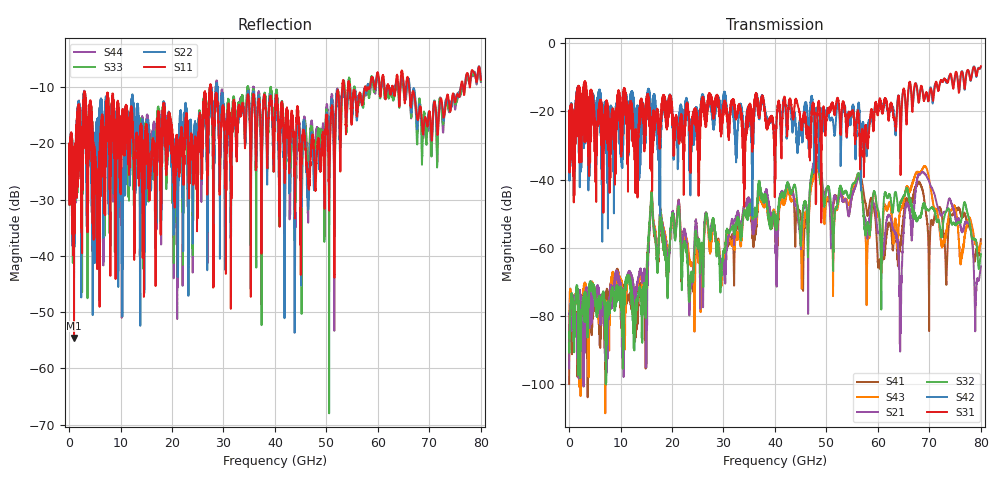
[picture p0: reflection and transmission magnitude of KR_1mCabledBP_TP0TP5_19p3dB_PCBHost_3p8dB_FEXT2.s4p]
!! Reference: shanbhag_3dj_02_2305.pdf
!! CHANNEL DESCRIPTION: TP0_TP5 KR Channel using 1meter Cabled BP, PCB Host
!! CABLE DESCRIPTION: 1meter 26AWG Cable
!! MODEL STATUS: Developmental
!! PORT DEFINITIONS:
!! Port  1  ----->  Side A  Side B  <-----  Port  2
!! Port  3  ----->  Side A  Side B  <-----  Port  4
# HZ S MA R 50.000000
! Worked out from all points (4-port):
!   8000 points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, 10 MHz to 80 GHz, reference 50 ohm
!   strongest paths, dB at 10 MHz, 20.01 GHz, 40.01 GHz, 60.01 GHz, 80 GHz:
!     S31: -28.4, -20.1, -34.4, -21.1, -6.8
!     S42: -28.3, -20.4, -34.9, -19.2, -7.1
!     S32: -87.8, -50.6, -52.3, -48.9, -61.9
!     S21: -95.3, -50.3, -55.8, -55.7, -65.4
!     S43: -92.9, -51.3, -51.4, -50.9, -58.7
!     S41: -99.9, -51.5, -54.7, -64.5, -57.4
!   lowest |S11| = -54.6 dB at 970 MHz (marker M1), VSWR 1.00, Z = 50.2 + j0.02 ohm
!   |S11| at or under -10 dB: start of sweep to 27.38 GHz; 27.59 GHz to 53.07 GHz (25.48 GHz wide, 63.2 % of centre); 66.05 GHz to 76.09 GHz (10.04 GHz wide, 14.1 % of centre) (the widest 3 of 20)
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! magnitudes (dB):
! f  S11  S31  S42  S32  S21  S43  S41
! 10 MHz  -25.4  -28.4  -28.3  -87.8  -95.3  -92.9  -99.9
! 970 MHz  -54.6  -26.0  -24.5  -82.7  -74.6  -78.0  -83.1
! 13.01 GHz  -19.1  -32.3  -24.6  -78.1  -74.1  -73.9  -84.8
! 15.99 GHz  -23.1  -28.3  -20.1  -44.2  -45.1  -44.0  -45.1
! 45.51 GHz  -17.5  -22.3  -21.5  -47.8  -48.7  -55.0  -64.8
! 48.12 GHz  -21.8  -24.1  -19.4  -35.3  -33.8  -37.1  -35.2
! 80 GHz  -8.7  -6.8  -7.1  -61.9  -65.4  -58.7  -57.4
